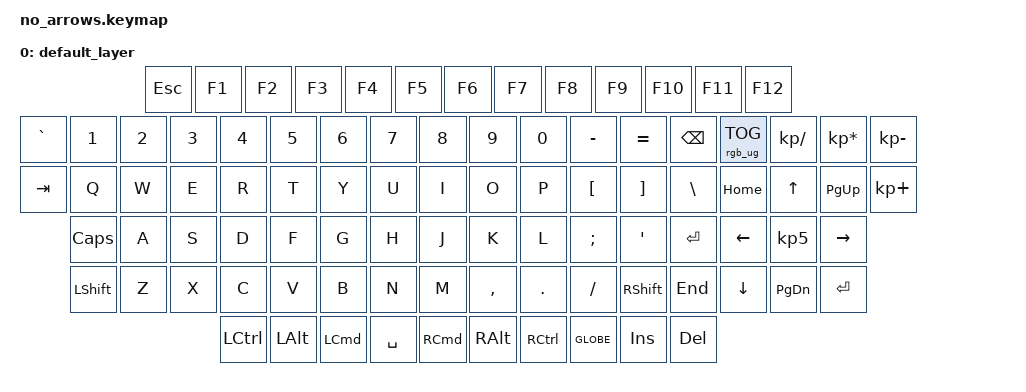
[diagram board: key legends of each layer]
/*
 * Copyright (c) 2024 J. Westley
 *
 * SPDX-License-Identifier: MIT
 */

#include <behaviors.dtsi>
#include <dt-bindings/zmk/keys.h>
#include <dt-bindings/zmk/bt.h>
#include <dt-bindings/zmk/rgb.h>

/ {
    keymap {
        compatible = "zmk,keymap";
        default_layer { // Layer 0
        // --------------------------------------------------------------------------------------------------------------
        // | ESC | F1 | F2 | F3 | F4 | F5 | F6 | F7 | F8 | F9 | F10 | F11 | F12                                          |
        // | ` |  1  |  2  |  3  |  4  |  5  |  6  |  7  |  8  |  9  |  0  |  -  |  =  |   BSPC | RGB(M1) | / | * |-         |
        // | TAB  |  Q  |  W  |  E  |  R  |  T  |  Y  |  U  |  I  |  O  |  P  |  [  |  ]  |   \ |  7  | 8 | 9 | +        |
        // | CAPS  |  A  |  S  |  D  |  F  |  G  |  H  |  J  |  K  |  L  |  ;  |  '  |     ENTER|  4  | 5 | 6 |          |
        // |  SHIFT  |  Z  |  X  |  C  |  V  |  B  |  N  |  M  |  ,  |  .  |  /  |      SHIFT   |  1  | 2 | 3 | ENTER    |
        // |  CTL  |  CMD  |  ALT  |            SPACE               | CMD | ALT |  CTRL  | GLOBE|     0   | . |          |
        // ---------------------------------------------------------------------------------------------------------------
            bindings = <
            &kp ESC &kp F1 &kp F2 &kp F3 &kp F4 &kp F5 &kp F6 &kp F7 &kp F8 &kp F9 &kp F10 &kp F11 &kp F12
            &kp GRAVE &kp N1 &kp N2 &kp N3 &kp N4 &kp N5 &kp N6 &kp N7 &kp   N8  &kp  N9 &kp  N0  &kp MINUS &kp EQUAL &kp BSPC &rgb_ug RGB_TOG &kp KP_SLASH &kp KP_ASTERISK &kp KP_MINUS
            &kp TAB  &kp Q  &kp W  &kp E  &kp R  &kp T  &kp Y  &kp U  &kp   I   &kp  O  &kp   P  &kp LBKT &kp RBKT  &kp BSLH &kp HOME &kp UP_ARROW &kp PAGE_UP &kp KP_PLUS
            &kp CLCK  &kp A  &kp S  &kp D  &kp F  &kp G  &kp H  &kp J  &kp   K   &kp  L  &kp SEMI &kp SQT           &kp RET &kp LEFT_ARROW &kp KP_N5 &kp RIGHT_ARROW
            &kp LSHIFT  &kp Z  &kp X  &kp C  &kp V  &kp B  &kp N  &kp M  &kp COMMA &kp DOT &kp FSLH &kp RSHIFT &kp END &kp DOWN_ARROW &kp PAGE_DOWN &kp RET
            &kp LCTRL &kp LALT &kp LCMD               &kp SPACE                 &kp  RCMD  &kp  RALT &kp  RCTRL &kp GLOBE &kp INSERT &kp DELETE
            >;
        };
    };
 };

&led_strip {
	chain-length = <25>;
};
